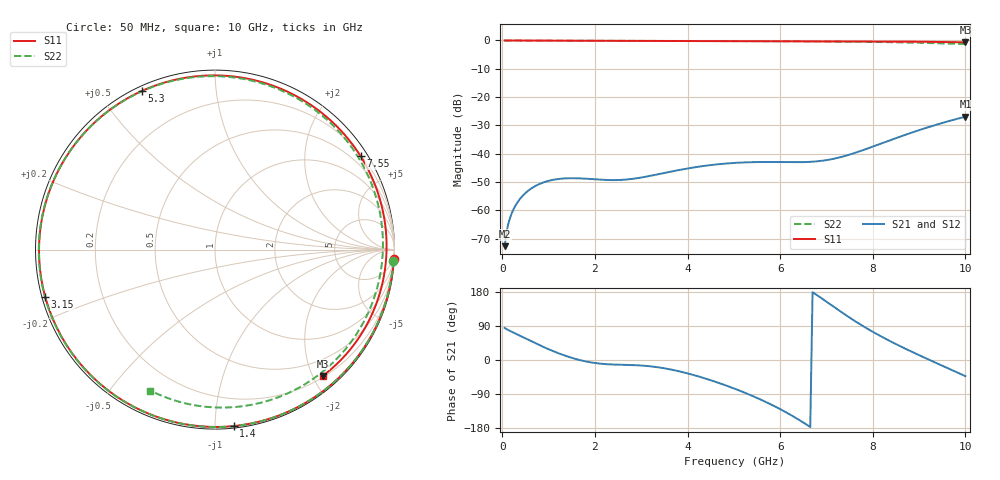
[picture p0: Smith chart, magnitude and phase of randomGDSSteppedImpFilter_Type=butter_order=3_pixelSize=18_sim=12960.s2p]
! freq	dB(S11)	phase(S11)	dB(S12)	phase(S12)
!  dB(S21)	phase(S21)	dB(S22)	phase(S22)
!S-par simulation data
#  GHz  S  DB  R 50
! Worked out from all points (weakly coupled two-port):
!   200 points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, 50 MHz to 10 GHz, reference 50 ohm
!   highest |S21| = -26.95 dB at 10 GHz (marker M1); lowest = -72.7 dB at 50 MHz (marker M2)
!   lowest |S11| = -0.7 dB at 10 GHz (marker M3), VSWR 25.64, Z = 11 - j107 ohm
!   |S11| at or under -10 dB: nowhere
!   |S22| runs from -1.3 to 0.0 dB; largest |S21 - S12| = 0
!   S11 on the Smith chart (normalised r, x): 50 MHz: 1, -37; 1.4 GHz: 0.01, -1.11; 3.15 GHz: 0.01, -0.14; 5.3 GHz: 0.02, +0.64; 7.55 GHz: 0.23, +3.40; 10 GHz: 0.22, -2.15
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0.05  -0.01 -3.1  -72.69 84.9  -72.69 84.9  -0.04 -3.5
0.1  -0.02 -6.3  -66.90 80.9  -66.90 80.9  -0.04 -7.0
0.2  -0.03 -12.6  -61.22 74.7  -61.22 74.7  -0.04 -13.9
0.45  -0.04 -28.4  -54.72 59.8  -54.72 59.8  -0.05 -30.9
0.9  -0.07 -55.8  -50.11 33.8  -50.11 33.8  -0.07 -59.8
1.4  -0.10 -83.9  -48.70 9.6  -48.70 9.6  -0.10 -88.3
1.75  -0.11 -102.1  -48.80 -2.4  -48.80 -2.4  -0.11 -106.0
2.45  -0.14 -135.1  -49.35 -12.2  -49.35 -12.2  -0.13 -136.6
3.15  -0.16 -164.5  -47.99 -16.1  -47.99 -16.1  -0.14 -162.7
3.4  -0.17 -174.4  -47.16 -19.9  -47.16 -19.9  -0.15 -171.3
4.2  -0.19 155.1  -44.71 -42.1  -44.71 -42.1  -0.18 162.3
5.05  -0.23 123.8  -43.24 -77.3  -43.24 -77.3  -0.22 134.5
5.3  -0.24 114.6  -43.06 -89.5  -43.06 -89.5  -0.23 126.1
6  -0.26 89.0  -42.99 -129.6  -42.99 -129.6  -0.28 101.4
6.7  -0.28 63.4  -42.85 179.0  -42.85 179.0  -0.33 73.9
7.55  -0.32 32.7  -40.08 107.8  -40.08 107.8  -0.44 35.4
7.95  -0.35 18.5  -37.82 77.9  -37.82 77.9  -0.51 14.8
8.35  -0.38 4.7  -35.41 51.3  -35.41 51.3  -0.61 -7.4
8.8  -0.43 -10.6  -32.80 24.2  -32.80 24.2  -0.76 -34.3
9.25  -0.50 -25.4  -30.40 -1.3  -30.40 -1.3  -0.94 -63.1
9.65  -0.58 -38.4  -28.47 -23.3  -28.47 -23.3  -1.12 -90.1
10  -0.68 -49.6  -26.95 -42.6  -26.95 -42.6  -1.27 -114.6
